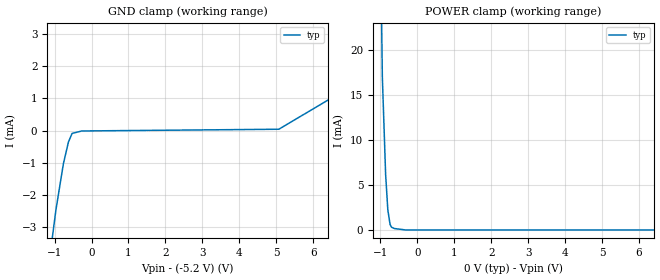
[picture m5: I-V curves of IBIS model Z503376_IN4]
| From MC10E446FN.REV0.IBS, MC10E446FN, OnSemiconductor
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| (C) COPYRIGHT 1993-2000
| MENTOR GRAPHICS CORPORATION
| ICX STANDARD LIBRARY, ICX PROJECT MODELING,
| ICX CUSTOM MODELING, ICX VENDOR MODEL
| ALL RIGHTS RESERVED.
| THE FOLLOWING ARE TRADEMARKS OR SERVICE MARKS OF
| MENTOR GRAPHICS CORPORATION:ICX (R), ICX STANDARD
| LIBRARY(R), ICX PROJECT MODELING(R), ICX CUSTOM
| MODELING(R), qualityIBIS(TM), MODELVIEWER(TM),
| AND MODELEDITOR(TM)
| ALL COPIES OF SOFTWARE, INCLUDING BUT NOT LIMITED TO
| ANY MODIFICATIONS, ENHANCEMENTS OR DERIVATIVE WORKS,
| MUST CONTAIN ALL MENTOR GRAPHICS CORPORATION'S
| NOTICES AND LEGENDS, INCLUDING THOSE EMBEDDED IN
| SOFTWARE AND THOSE AFFIXED TO SOFTWARE MEDIUM
| AND CONTAINER, AS RECEIVED FROM MENTOR GRAPHICS
| CORPORATION.
| Model Application Version 1.89 2/18/99.
[Model] Z503376_IN4
Model_type Input_ECL
Vinl = -1.475V
Vinh = -1.165V
C_comp 4.000pF NA NA
| variable typ   min   max
[Voltage Range] -5.200V NA NA
[GND Clamp Reference] -5.200V NA NA
[POWER Clamp Reference] 0.000V NA NA
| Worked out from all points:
|   GND clamp passes 1 mA (typ) near -0.75 V on its own axis
|   POWER clamp passes 1 mA (typ) near -0.75 V on its own axis
[GND Clamp]
-5.2V     -65.67mA   NA         NA
-1.397V   -7.06mA    NA         NA
-1.236V   -5.081mA   NA         NA
-1.108V   -3.752mA   NA         NA
-964mV    -2.477mA   NA         NA
-761mV    -1.032mA   NA         NA
-626mV    -363.5uA   NA         NA
-527mV    -90.97uA   NA         NA
-263.5mV  -13.87uA   NA         NA
5.069V    40.11uA    NA         NA
10.4V     3.675mA    NA         NA
[POWER Clamp]
-5.2V     1.838A     NA         NA
-1.01V    36.62mA    NA         NA
-947.3mV  16.98mA    NA         NA
-858.2mV  6.133mA    NA         NA
-799.7mV  2.261mA    NA         NA
-737.9mV  607.3uA    NA         NA
-698.2mV  305.8uA    NA         NA
-622.7mV  161.9uA    NA         NA
-311.3mV  0A         NA         NA
10.4V     0A         NA         NA
